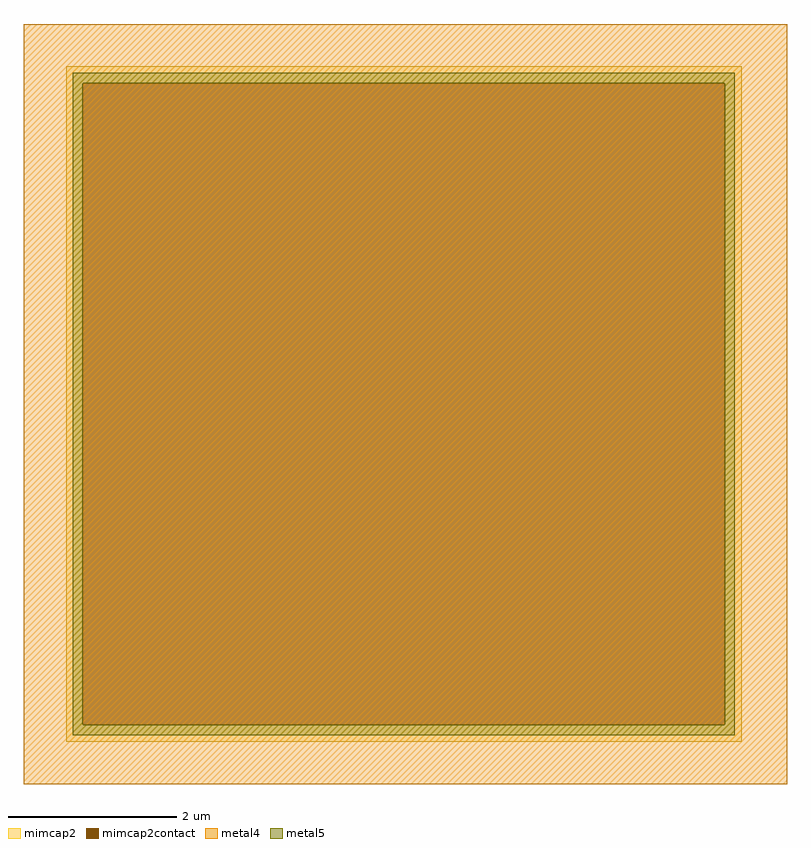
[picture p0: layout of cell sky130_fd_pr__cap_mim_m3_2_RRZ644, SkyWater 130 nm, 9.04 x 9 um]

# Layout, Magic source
magic
tech sky130A
magscale 1 2
<< metal4 >>
rect -1151 -900 657 900
<< mimcap2 >>
rect -1051 760 549 800
rect -1051 -760 -1011 760
rect 509 -760 549 760
rect -1051 -800 549 -760
<< mimcap2contact >>
rect -1011 -760 509 760
<< metal5 >>
rect -1035 760 533 784
rect -1035 -760 -1011 760
rect 509 -760 533 760
rect -1035 -784 533 -760
<< properties >>
string gencell sky130_fd_pr__cap_mim_m3_2
string FIXED_BBOX -1151 -900 649 900
string parameters w 8.00 l 8.00 val 134.08 carea 2.00 cperi 0.19 nx 1 ny 1 dummy 0 square 0 lmin 2.00 wmin 2.00 lmax 30.0 wmax 30.0 dc 0 bconnect 1 tconnect 1 ccov 100
string library sky130
<< end >>
